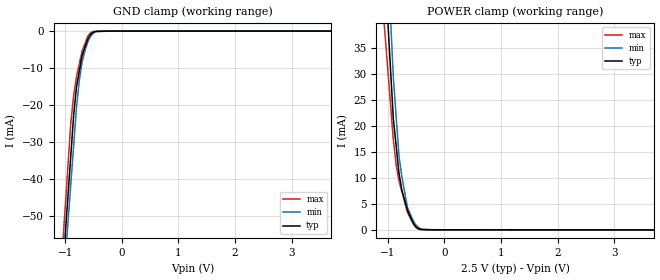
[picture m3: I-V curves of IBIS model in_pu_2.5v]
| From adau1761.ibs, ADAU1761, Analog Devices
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[Model] in_pu_2.5v
Model_type Input
Vinl = 750.000mV
Vinh = 1.75000V
C_comp 501.000fF 475.950fF 526.050fF
| variable typ   min   max
[Voltage Range] 2.50000V 2.25000V 2.75000V
[POWER Clamp Reference] 2.50000V 2.25000V 2.75000V
[GND Clamp Reference] 0.00000V 0.00000V 0.00000V
[Temperature Range]   25   85   -40
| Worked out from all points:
|   GND clamp passes 1 mA (typ) near -0.55 V on its own axis
|   POWER clamp passes 1 mA (typ) near -0.53 V on its own axis
[GND Clamp]
-2.5V     -381.4mA   -371.5mA   -393.2mA
-900mV    -33.63mA   -41.3mA    -24.8mA
-850mV    -22.77mA   -30.99mA   -17.38mA
-800mV    -15.14mA   -20.67mA   -12.36mA
-750mV    -10.83mA   -13.28mA   -8.858mA
-700mV    -6.525mA   -8.291mA   -5.352mA
-650mV    -4.332mA   -5.277mA   -3.365mA
-600mV    -2.14mA    -2.967mA   -1.379mA
-550mV    -873.5uA   -1.422mA   -434.8uA
-450mV    -57.55uA   -158uA     -76.16uA
-225mV    -9.459uA   -6.37uA    -2.898uA
5V        0A         0A         0A
[POWER Clamp]
-2.5V     329.8mA    398.8mA    238.5mA
-1.05V    50.29mA    63.99mA    38.07mA
-900mV    21.38mA    29.35mA    17.33mA
-850mV    16.12mA    21.78mA    12.5mA
-800mV    10.87mA    14.21mA    9.381mA
-750mV    7.671mA    10.27mA    7.354mA
-650mV    3.756mA    4.291mA    3.302mA
-550mV    1.324mA    1.775mA    1.159mA
-500mV    588.3uA    917.8uA    377.4uA
-450mV    189.3uA    378.1uA    89.67uA
-300mV    17.92uA    0A         51.24uA
5V        -20uA      -33.33uA   -12.5uA
